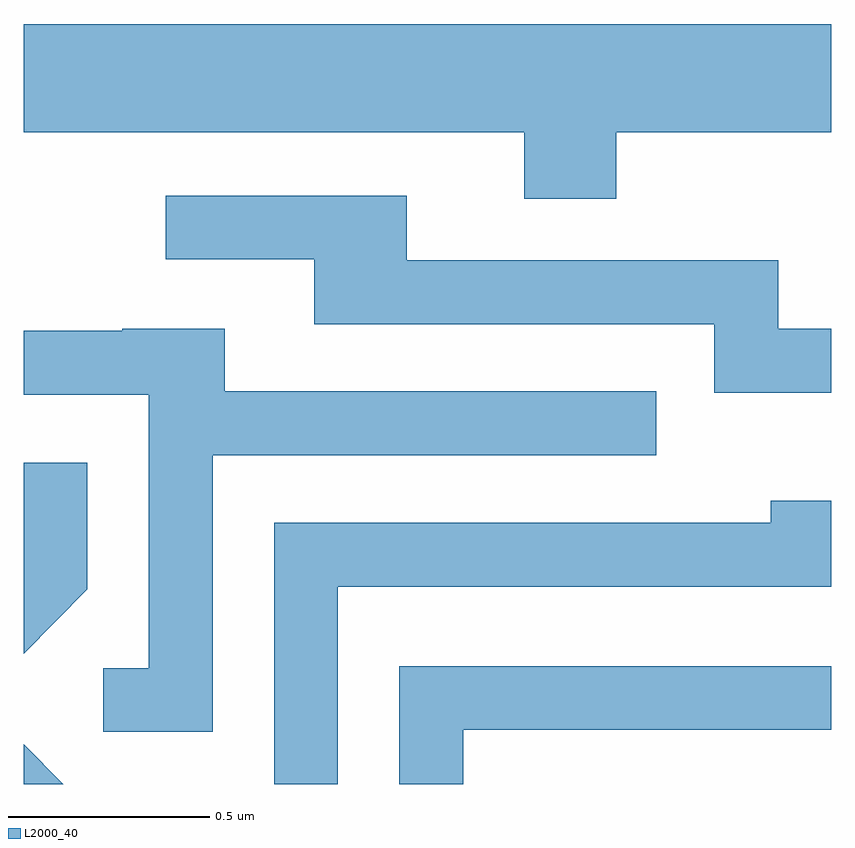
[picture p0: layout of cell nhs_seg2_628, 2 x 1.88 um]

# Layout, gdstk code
import gdstk
lib = gdstk.Library(unit=1e-6, precision=1e-09)
def P(c, l, *ps):  # polygons
    for p in ps: c.add(gdstk.Polygon(p, *l))
L2000_40 = (2000, 40)

nhs_seg2_628 = lib.new_cell('nhs_seg2_628')
P(nhs_seg2_628, L2000_40, [(191.079,1059.416),(191.611,1059.416),(191.611,1059.684),(189.611,1059.684),(189.611,1059.416),(190.851,1059.416),(190.851,1059.251),(191.079,1059.251)],
  [(191.611,1058.929),(191.479,1058.929),(191.479,1059.099),(190.559,1059.099),(190.559,1059.259),(189.963,1059.259),(189.963,1059.101),(190.331,1059.101),(190.331,1058.941),(191.321,1058.941),(191.321,1058.771),(191.611,1058.771)],
  [(190.079,1058.616),(191.178,1058.616),(191.178,1058.774),(190.109,1058.774),(190.109,1058.929),(189.855,1058.929),(189.855,1058.924),(189.611,1058.924),(189.611,1058.766),(189.921,1058.766),(189.921,1058.089),(189.808,1058.089),(189.808,1057.931),(190.079,1057.931)],
  [(189.769,1058.284),(189.769,1058.598),(189.611,1058.598),(189.611,1058.125)],
  [(190.389,1058.291),(191.611,1058.291),(191.611,1058.504),(191.461,1058.504),(191.461,1058.449),(190.231,1058.449),(190.231,1057.802),(190.389,1057.802)],
  [(190.699,1057.936),(191.611,1057.936),(191.611,1058.094),(190.541,1058.094),(190.541,1057.802),(190.699,1057.802)],
  [(189.611,1057.9),(189.611,1057.802),(189.709,1057.802)])

lib.write_gds('nhs_seg2_628.gds')
